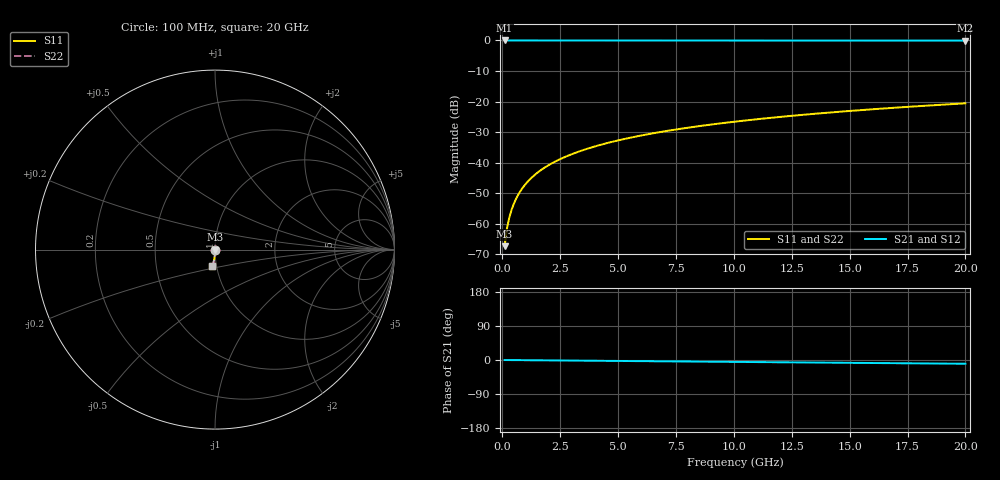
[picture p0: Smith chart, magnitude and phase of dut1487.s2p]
! Touchstone file exported from HFSS 2026.1.0
!  File:  C:/ffzhzh/LocalFiles/Ansys_Project_Files/temp_train_TSV_1487_1783198745_51560.aedt
!  Generated:  05:00:21 AM Jul  5, 2026
!  Design:  TSV
!  Project:  temp_train_TSV_1487_1783198745_51560
! Variables:
!  h_bsmrdl = 2um
!  h_ox = 20um
!  h_rdl = 5um
!  h_sub = 90.6um
!  h_tmrdl = 5um
!  h_tsv = 90.6um
!  h_via = 3um
!  l_bsmrdl = 300um
!  l_sub = 421.62um
!  l_tmrdl = 200um
!  m_sub = 200um
!  pitch = 27.67um
!  r_tsv = 10.81um
!  s_tmrdl = 10um
!  w_bsmrdl = 18um
!  w_sub = 500um
!  w_tmrdl = 12um
!  x_tsv_center1 = 206um
!  x_tsv_center2 = 524um
!  x_tsv_center3 = 736um
!  x_tsv_center4 = 1054um
!  x_tsv_center5 = 1266um
!  x_tsv_center6 = 1584um
# GHz S MA R 50.000000
! Terminal data exported
! Port[1] = TSV1_1_T1
! Port[2] = TSV1_1_T2
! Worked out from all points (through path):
!   200 points, 100 MHz to 20 GHz, reference 50 ohm
!   highest |S21| = 0.00 dB at 100 MHz (marker M1); lowest = -0.1 dB at 20 GHz (marker M2)
!   group delay of S21, straight-line fit = 1.37 ps
!   lowest |S11| = -67.3 dB at 100 MHz (marker M3), VSWR 1.00, Z = 50 - j0.0405 ohm
!   |S11| at or under -10 dB: start of sweep to end of sweep
!   |S22| runs from -67.3 to -20.6 dB; largest |S21 - S12| = 3.2e-15
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0.1  0.0004291 -70.8  0.9999 -0.1  0.9999 -0.1  0.0004291 -70.8
! Gamma 0 0 0 0
! Port Impedance 50 0 50 0
0.2  0.0008325 -78.8  0.9998 -0.1  0.9998 -0.1  0.0008325 -78.8
0.3  0.001253 -81.2  0.9998 -0.2  0.9998 -0.2  0.001253 -81.2
0.4  0.001686 -82.3  0.9998 -0.2  0.9998 -0.2  0.001686 -82.3
0.5  0.00213 -83.0  0.9997 -0.3  0.9997 -0.3  0.00213 -83.0
0.7  0.00304 -84.0  0.9997 -0.4  0.9997 -0.4  0.00304 -84.0
0.8  0.003501 -84.4  0.9996 -0.4  0.9996 -0.4  0.003501 -84.4
1  0.00443 -85.2  0.9996 -0.5  0.9996 -0.5  0.00443 -85.2
1.2  0.005361 -85.8  0.9995 -0.6  0.9995 -0.6  0.005361 -85.8
1.4  0.006294 -86.4  0.9995 -0.7  0.9995 -0.7  0.006294 -86.4
1.7  0.007693 -87.0  0.9995 -0.9  0.9995 -0.9  0.007693 -87.0
2  0.00909 -87.5  0.9994 -1.0  0.9994 -1.0  0.00909 -87.5
2.7  0.01235 -88.5  0.9993 -1.4  0.9993 -1.4  0.01235 -88.5
3.5  0.01609 -89.3  0.9992 -1.8  0.9992 -1.8  0.01609 -89.3
4.2  0.01936 -89.8  0.999 -2.1  0.999 -2.1  0.01936 -89.8
5  0.02312 -90.4  0.9989 -2.5  0.9989 -2.5  0.02312 -90.4
6.8  0.03158 -91.6  0.9985 -3.4  0.9985 -3.4  0.03158 -91.6
8.3  0.03865 -92.5  0.9981 -4.1  0.9981 -4.1  0.03865 -92.5
10.1  0.04713 -93.5  0.9977 -5.0  0.9977 -5.0  0.04713 -93.5
13.4  0.06264 -95.4  0.9966 -6.7  0.9966 -6.7  0.06264 -95.4
16.7  0.07809 -97.1  0.9954 -8.3  0.9954 -8.3  0.07809 -97.1
20  0.09346 -98.8  0.9938 -9.9  0.9938 -9.9  0.09346 -98.8
